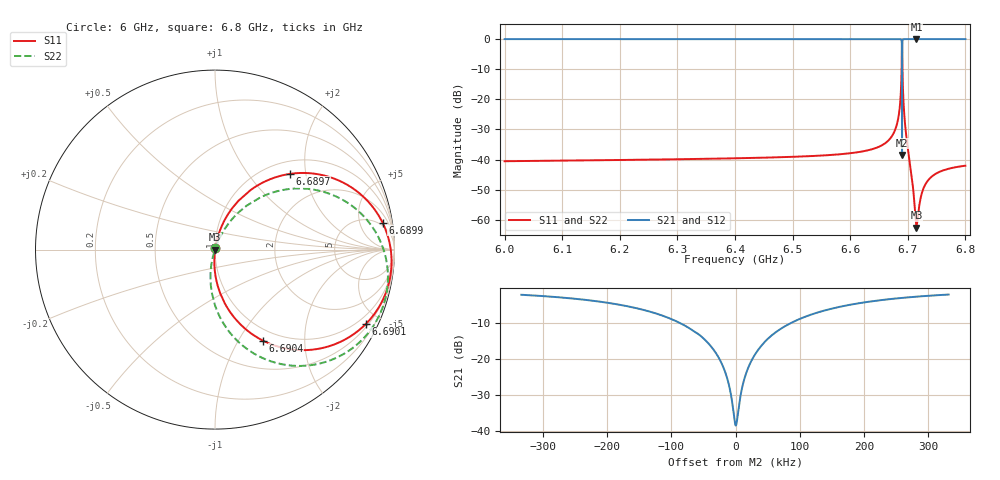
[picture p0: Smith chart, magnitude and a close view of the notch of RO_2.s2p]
! Sonnet Data File
! From: em Version : 14.52
! From Project: RO_2
! Data is De-embedded
! Data File Written: 01/08/2019 21:17:36
!< HDATE 01/08/2019 00:46:20
!< MDATE 01/08/2019 20:29:06
# GHZ S MA R 50.00000
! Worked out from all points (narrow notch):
!   958 points, 6 GHz to 6.8 GHz, reference 50 ohm
!   highest |S21| = 0.00 dB at 6.715 GHz (marker M1); lowest = -38.5 dB at 6.69 GHz (marker M2)
!   notch at M2: 38.5 dB deep, 55.7 kHz wide at half that depth
!   lowest |S11| = -62.6 dB at 6.715 GHz (marker M3), VSWR 1.00, Z = 50.1 - j0.0224 ohm
!   |S11| at or under -10 dB: start of sweep to 6.6892 GHz; 6.6908 GHz to end of sweep
!   |S22| runs from -62.7 to -0.1 dB; largest |S21 - S12| = 0
!   S11 on the Smith chart (normalised r, x): 6 GHz: 1.00, +0.02; 6.6897 GHz: 1.25, +1.63; 6.6899 GHz: 4, +11; 6.6901 GHz: 0.62, -4.18; 6.6904 GHz: 0.85, -1.28; 6.8 GHz: 1.00, +0.02
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6  0.009376 79.0  1 -12.2  1 -12.2  0.009376 76.7
!< P1 F=6.0 Eeff=(5.67080918 -5.1691e-6) Z0=(51.6560295 2.35492e-5) R=0.01071313 C=0.0022568
!< P2 F=6.0 Eeff=(5.67080918 -5.1691e-6) Z0=(51.6560295 2.35492e-5) R=0.01071313 C=0.0022568
6.135  0.009668 78.7  1 -12.4  1 -12.4  0.009668 76.4
6.2675  0.01001 78.5  1 -12.7  1 -12.7  0.01001 76.1
6.4  0.01048 78.4  0.9999 -13.0  0.9999 -13.0  0.01048 75.7
6.535  0.01145 78.3  0.9999 -13.3  0.9999 -13.3  0.01145 75.1
6.6675  0.02127 79.1  0.9998 -14.1  0.9998 -14.1  0.02127 72.6
6.6846  0.05676 78.2  0.9984 -16.2  0.9984 -16.2  0.05676 69.3
6.688  0.1341 74.2  0.9908 -20.6  0.9908 -20.6  0.1341 64.4
6.6894  0.3824 59.4  0.9222 -35.4  0.9222 -35.4  0.3824 49.2
6.68968  0.5923 45.4  0.8006 -49.3  0.8006 -49.3  0.5923 35.1
6.68995  0.9455 9.1  0.291 -83.8  0.291 -83.8  0.9455 -1.2
6.690004  0.9835 -2.2  0.09754 -90.5  0.09754 -90.5  0.9835 -12.6
6.690029  0.9882 -7.7  0.01188 -17.3  0.01188 -17.3  0.9881 -18.1
6.690055  0.983 -13.6  0.1022 64.6  0.1022 64.6  0.983 -24.0
6.690115  0.9362 -26.4  0.3198 56.4  0.3198 56.4  0.9362 -36.8
6.690385  0.573 -62.2  0.8146 22.0  0.8146 22.0  0.573 -72.8
6.6922  0.1065 -91.2  0.9941 -6.8  0.9941 -6.8  0.1065 -102.3
6.6956  0.0356 -94.5  0.9993 -10.9  0.9993 -10.9  0.0356 -107.3
6.71  0.002782 -82.5  1 -12.8  1 -12.8  0.002781 -123.1
6.715  0.0007394 -17.6  1 -13.0  1 -13.0  0.0007359 171.6
6.745  0.005523 74.2  1 -13.4  1 -13.4  0.005523 79.0
6.8  0.007903 76.3  1 -13.6  1 -13.6  0.007903 76.5
